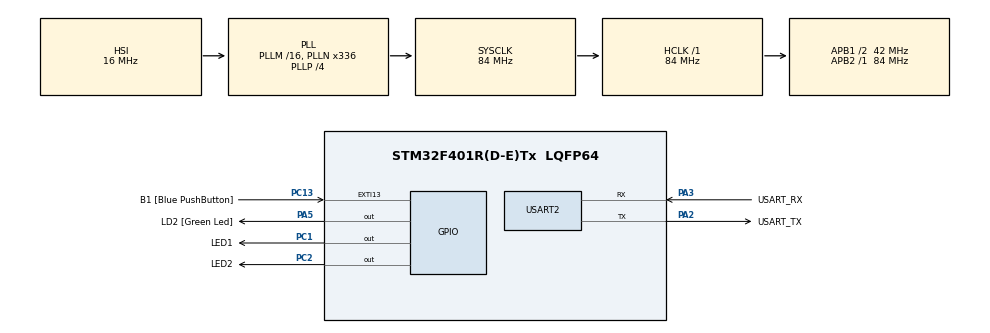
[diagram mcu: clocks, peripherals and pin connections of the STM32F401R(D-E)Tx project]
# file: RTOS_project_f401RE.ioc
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Mcu.Family=STM32F4
Mcu.Name=STM32F401R(D-E)Tx
Mcu.Package=LQFP64
NVIC.PriorityGroup=NVIC_PRIORITYGROUP_4
PA13.GPIO_Label=TMS
PA13.Mode=Serial_Wire
PA13.Signal=SYS_JTMS-SWDIO
PA14.GPIO_Label=TCK
PA14.Mode=Serial_Wire
PA14.Signal=SYS_JTCK-SWCLK
PA2.GPIO_Label=USART_TX
PA2.GPIO_Mode=GPIO_MODE_AF_PP
PA2.GPIO_PuPd=GPIO_NOPULL
PA2.GPIO_Speed=GPIO_SPEED_FREQ_LOW
PA2.Mode=Asynchronous
PA2.Signal=USART2_TX
PA3.GPIO_Label=USART_RX
PA3.GPIO_Mode=GPIO_MODE_AF_PP
PA3.GPIO_PuPd=GPIO_NOPULL
PA3.GPIO_Speed=GPIO_SPEED_FREQ_LOW
PA3.Mode=Asynchronous
PA3.Signal=USART2_RX
PA5.GPIO_Label=LD2 [Green Led]
PA5.GPIO_Mode=GPIO_MODE_OUTPUT_PP
PA5.GPIO_PuPd=GPIO_NOPULL
PA5.GPIO_Speed=GPIO_SPEED_FREQ_LOW
PA5.Signal=GPIO_Output
PB3.GPIO_Label=SWO
PB3.Signal=SYS_JTDO-SWO
PC1.GPIO_Label=LED1
PC1.Signal=GPIO_Output
PC13-ANTI_TAMP.GPIO_Label=B1 [Blue PushButton]
PC13-ANTI_TAMP.GPIO_ModeDefaultEXTI=GPIO_MODE_IT_FALLING
PC13-ANTI_TAMP.GPIO_PuPd=GPIO_NOPULL
PC13-ANTI_TAMP.Signal=GPXTI13
PC14-OSC32_IN.Mode=LSE-External-Oscillator
PC14-OSC32_IN.Signal=RCC_OSC32_IN
PC15-OSC32_OUT.Mode=LSE-External-Oscillator
PC15-OSC32_OUT.Signal=RCC_OSC32_OUT
PC2.GPIO_Label=LED2
PC2.Signal=GPIO_Output
PH0\ -\ OSC_IN.Mode=HSE-External-Clock-Source
PH0\ -\ OSC_IN.Signal=RCC_OSC_IN
PH1\ -\ OSC_OUT.Mode=HSE-External-Clock-Source
PH1\ -\ OSC_OUT.Signal=RCC_OSC_OUT
ProjectManager.HeapSize=0x200
ProjectManager.StackSize=0x400
ProjectManager.TargetToolchain=STM32CubeIDE
RCC.48MHZClocksFreq_Value=48000000
RCC.AHBFreq_Value=84000000
RCC.APB1CLKDivider=RCC_HCLK_DIV2
RCC.APB1Freq_Value=42000000
RCC.APB1TimFreq_Value=84000000
RCC.APB2Freq_Value=84000000
RCC.APB2TimFreq_Value=84000000
RCC.CortexFreq_Value=84000000
RCC.HCLKFreq_Value=84000000
RCC.HSE_VALUE=8000000
RCC.HSI_VALUE=16000000
RCC.PLLN=336
RCC.PLLP=RCC_PLLP_DIV4
RCC.PLLQ=7
RCC.SYSCLKFreq_VALUE=84000000
RCC.SYSCLKSource=RCC_SYSCLKSOURCE_PLLCLK
RCC.VCOOutputFreq_Value=336000000
USART2.VirtualMode=VM_ASYNC
board=NUCLEO-F401RE

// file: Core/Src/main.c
/* USER CODE BEGIN Header */
/**
  ******************************************************************************
  * @file           : main.c
  * @brief          : Main program body
  ******************************************************************************
  * @attention
  *
  * Copyright (c) 2024 STMicroelectronics.
  * All rights reserved.
  *
  * This software is licensed under terms that can be found in the LICENSE file
  * in the root directory of this software component.
  * If no LICENSE file comes with this software, it is provided AS-IS.
  *
  ******************************************************************************
  */
/* USER CODE END Header */
#include "main.h"
#include "usart.h"
#include "gpio.h"
#include "kernel.h"
#include "cmsis_gcc.h"

void SystemClock_Config(void);

/* USER CODE BEGIN 0 */
uint32_t stack_blnk1[40];
OSThread blnk1_sp;\

void main_blink1(void){
	while(1){
    uint32_t volatile i;
    for(i = 1500U; i != 0U; --i){
      HAL_GPIO_WritePin(LED1_GPIO_Port, LED1_Pin, RESET);

      HAL_GPIO_WritePin(LED1_GPIO_Port, LED1_Pin, SET);
	}
  OS_delay(1U);
}
}

uint32_t stack_blnk2[40];
OSThread blnk2_sp;
void main_blink2 (void){
  while (1)
  {
    uint32_t volatile i;
    for(i = 3*1500U; i != 0U; --i){
      HAL_GPIO_WritePin(LED2_GPIO_Port, LED2_Pin, RESET);

      HAL_GPIO_WritePin(LED2_GPIO_Port, LED2_Pin, SET);
	}
  OS_delay(50U);
  }

}

uint32_t stack_idleThread[40];

/* USER CODE END 0 */

int main(void)
{

  /* MCU Configuration--------------------------------------------------------*/

  /* Reset of all peripherals, Initializes the Flash interface and the Systick. */
  HAL_Init();

  /* Configure the system clock */
  SystemClock_Config();

  /* Initialize all configured peripherals */
  MX_GPIO_Init();
  MX_USART2_UART_Init();
  /* USER CODE BEGIN 2 */
  OS_startUP(stack_idleThread, sizeof(stack_idleThread));
  OSThread_Init(&blnk1_sp, 5U ,&main_blink1, stack_blnk1, sizeof(stack_blnk1) );
      OSThread_Init(&blnk2_sp, 2U ,&main_blink2, stack_blnk2, sizeof(stack_blnk2) );
//quick initialisation of the ISR stack frame for blinky1
  /* USER CODE END 2 */
  OS_run(); //will initalite the first init thread
  //if done this way thread idle will be in threads array 2!!!!!!!!

  /* Infinite loop */

  /* USER CODE BEGIN WHILE */

  /* USER CODE END 3 */
}

void SystemClock_Config(void)
{
  RCC_OscInitTypeDef RCC_OscInitStruct = {0};
  RCC_ClkInitTypeDef RCC_ClkInitStruct = {0};

  /** Configure the main internal regulator output voltage
  */
  __HAL_RCC_PWR_CLK_ENABLE();
  __HAL_PWR_VOLTAGESCALING_CONFIG(PWR_REGULATOR_VOLTAGE_SCALE2);

  /** Initializes the RCC Oscillators according to the specified parameters
  * in the RCC_OscInitTypeDef structure.
  */
  RCC_OscInitStruct.OscillatorType = RCC_OSCILLATORTYPE_HSI;
  RCC_OscInitStruct.HSIState = RCC_HSI_ON;
  RCC_OscInitStruct.HSICalibrationValue = RCC_HSICALIBRATION_DEFAULT;
  RCC_OscInitStruct.PLL.PLLState = RCC_PLL_ON;
  RCC_OscInitStruct.PLL.PLLSource = RCC_PLLSOURCE_HSI;
  RCC_OscInitStruct.PLL.PLLM = 16;
  RCC_OscInitStruct.PLL.PLLN = 336;
  RCC_OscInitStruct.PLL.PLLP = RCC_PLLP_DIV4;
  RCC_OscInitStruct.PLL.PLLQ = 7;
  if (HAL_RCC_OscConfig(&RCC_OscInitStruct) != HAL_OK)
  {
    Error_Handler();
  }

  /** Initializes the CPU, AHB and APB buses clocks
  */
  RCC_ClkInitStruct.ClockType = RCC_CLOCKTYPE_HCLK|RCC_CLOCKTYPE_SYSCLK
                              |RCC_CLOCKTYPE_PCLK1|RCC_CLOCKTYPE_PCLK2;
  RCC_ClkInitStruct.SYSCLKSource = RCC_SYSCLKSOURCE_PLLCLK;
  RCC_ClkInitStruct.AHBCLKDivider = RCC_SYSCLK_DIV1;
  RCC_ClkInitStruct.APB1CLKDivider = RCC_HCLK_DIV2;
  RCC_ClkInitStruct.APB2CLKDivider = RCC_HCLK_DIV1;

  if (HAL_RCC_ClockConfig(&RCC_ClkInitStruct, FLASH_LATENCY_2) != HAL_OK)
  {
    Error_Handler();
  }
}

void Error_Handler(void)
{
  __disable_irq();
  while (1)
  {
  }
}
